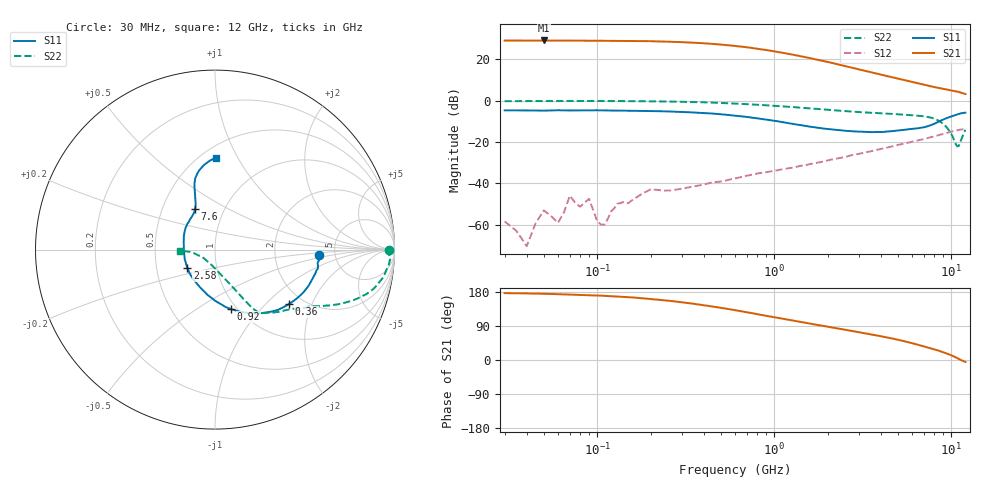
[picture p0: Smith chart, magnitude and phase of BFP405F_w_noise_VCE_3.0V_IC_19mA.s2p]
! Infineon Technologies  Discrete & RF Semiconductors
! BFP405F
! VCE =  3.0 V,  IC =  19 mA
! Common Emitter S-Parameters:  Nov 2015
# GHz  S  MA  R  50
!  f  S11  S21  S12  S22
! GHz  MAG  ANG  MAG  ANG  MAG  ANG  MAG  ANG
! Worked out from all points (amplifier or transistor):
!   239 points, 30 MHz to 12 GHz, reference 50 ohm
!   highest |S21| = 29.1 dB at 50 MHz (marker M1)
!   |S21| within 3 dB of that: start of sweep to 654.2 MHz
!   unconditionally stable (mu >= 1): 31.57 MHz to 41.34 MHz; 1.712 GHz to end of sweep
!   at 300 MHz: K = 0.39, MSG = 35.5 dB, |S12| = -42.6 dB
!   at 1.88 GHz: K = 1.04, MAG = 23.1 dB, |S12| = -29.5 dB
!   at 12 GHz: K = 1.38, MAG = 4.8 dB, |S12| = -13.7 dB
!   lowest NFmin = 2.19 dB at 450 MHz
!   S11 on the Smith chart (normalised r, x): 30 MHz: 3.75, -0.32; 360 MHz: 1.70, -1.39; 920 MHz: 0.94, -0.70; 2.58 GHz: 0.72, -0.15; 7.6 GHz: 0.73, +0.35; 12 GHz: 0.59, +0.81
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0.03  0.5817 -2.8  28.33 176.4  0.0012 54.8  0.9692 -0.2
0.04  0.5788 -3.9  28.34 175.8  0.0003 129.1  0.9694 -0.6
0.05  0.5716 -5.0  28.52 174.5  0.0022 -127.0  0.9743 -1.2
0.06  0.5832 -5.6  28.25 173.8  0.0011 -162.5  0.9682 -1.2
0.07  0.5766 -7.4  28.24 172.5  0.005 43.6  0.9731 -2.2
0.085  0.5804 -8.9  28.13 171.4  0.0034 115.7  0.9775 -2.8
0.105  0.5798 -11.1  27.98 169.8  0.001 56.6  0.9757 -3.6
0.15  0.5685 -16.0  27.79 166.0  0.0033 84.0  0.9686 -5.4
0.24  0.5493 -25.0  26.76 157.6  0.0066 79.7  0.952 -8.9
0.3  0.5317 -30.7  25.98 152.4  0.0074 69.3  0.9356 -10.9
0.36  0.5124 -36.1  24.99 147.6  0.0086 77.7  0.9202 -12.8
0.46  0.4815 -44.6  23.36 140.3  0.0107 76.5  0.8903 -15.5
0.6  0.4326 -55.4  21.02 131.3  0.0131 73.7  0.8477 -18.4
0.7  0.4024 -61.7  19.52 125.9  0.0152 72.9  0.8202 -20.1
0.92  0.3425 -75.0  16.5 115.9  0.0188 72.0  0.7652 -23.1
1.3  0.2684 -94.6  12.68 103.1  0.0242 71.0  0.6921 -26.8
1.64  0.2296 -110.0  10.36 95.0  0.0298 70.5  0.6431 -29.4
2.58  0.1845 -146.5  6.676 78.9  0.0445 69.6  0.5518 -36.7
4.5  0.1809 165.4  3.77 58.0  0.0757 63.7  0.4803 -46.9
7.6  0.2515 116.3  2.232 31.3  0.1286 50.7  0.3909 -57.1
10.8  0.463 99.2  1.65 4.9  0.1919 32.2  0.078 -123.1
12  0.5091 89.5  1.44 -5.0  0.2069 25.1  0.1963 -178.5
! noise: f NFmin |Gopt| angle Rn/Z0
0.45  2.19  0.03  -9  0.5
0.9  2.21  0.01  -43  0.33
1.5  2.26  0.02  -82  0.27
1.9  2.32  0.03  -109  0.39
2.4  2.46  0.03  -113  0.24
3  2.56  0.05  -115  0.11
3.5  2.63  0.07  -116  0.14
4.5  2.86  0.13  -104  0.46
5.5  3.17  0.23  -88  0.49
